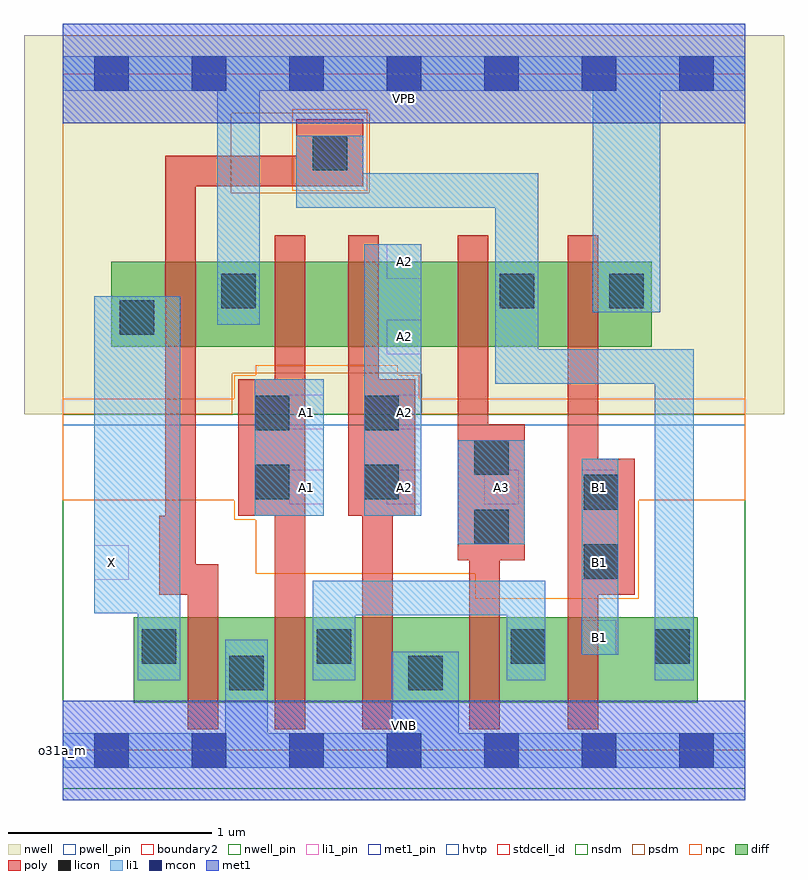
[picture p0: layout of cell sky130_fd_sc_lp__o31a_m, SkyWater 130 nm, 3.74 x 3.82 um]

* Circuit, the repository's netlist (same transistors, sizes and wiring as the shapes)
* Copyright 2020 The SkyWater PDK Authors
*
* Licensed under the Apache License, Version 2.0 (the "License");
* you may not use this file except in compliance with the License.
* You may obtain a copy of the License at
*
*     https://www.apache.org/licenses/LICENSE-2.0
*
* Unless required by applicable law or agreed to in writing, software
* distributed under the License is distributed on an "AS IS" BASIS,
* WITHOUT WARRANTIES OR CONDITIONS OF ANY KIND, either express or implied.
* See the License for the specific language governing permissions and
* limitations under the License.
*
* SPDX-License-Identifier: Apache-2.0

.SUBCKT sky130_fd_sc_lp__o31a_m A1 A2 A3 B1 VGND VNB VPB VPWR X
*.PININFO A1:I A2:I A3:I B1:I VGND:I VNB:I VPB:I VPWR:I X:O
MMPA0 VPWR A1 sndA1 VPB sky130_fd_pr__pfet_01v8_hvt m=1 w=0.42U l=0.15U mult=1
+ sa=0.265 sb=0.265 sd=0.28 area=0.063 perim=1.14
MMPA1 sndA1 A2 sndA2 VPB sky130_fd_pr__pfet_01v8_hvt m=1 w=0.42U l=0.15U mult=1
+ sa=0.265 sb=0.265 sd=0.28 area=0.063 perim=1.14
MMPA2 sndA2 A3 y VPB sky130_fd_pr__pfet_01v8_hvt m=1 w=0.42U l=0.15U mult=1 sa=0.265
+ sb=0.265 sd=0.28 area=0.063 perim=1.14
MMPB0 VPWR B1 y VPB sky130_fd_pr__pfet_01v8_hvt m=1 w=0.42U l=0.15U mult=1 sa=0.265
+ sb=0.265 sd=0.28 area=0.063 perim=1.14
MMIPX X y VPWR VPB sky130_fd_pr__pfet_01v8_hvt m=1 w=0.42U l=0.15U mult=1 sa=0.265
+ sb=0.265 sd=0.28 area=0.063 perim=1.14
MMNA0 pndA A1 VGND VNB sky130_fd_pr__nfet_01v8 m=1 w=0.42U l=0.15U mult=1 sa=0.265
+ sb=0.265 sd=0.28 area=0.063 perim=1.14
MMNA1 pndA A2 VGND VNB sky130_fd_pr__nfet_01v8 m=1 w=0.42U l=0.15U mult=1 sa=0.265
+ sb=0.265 sd=0.28 area=0.063 perim=1.14
MMNA2 pndA A3 VGND VNB sky130_fd_pr__nfet_01v8 m=1 w=0.42U l=0.15U mult=1 sa=0.265
+ sb=0.265 sd=0.28 area=0.063 perim=1.14
MMNB0 y B1 pndA VNB sky130_fd_pr__nfet_01v8 m=1 w=0.42U l=0.15U mult=1 sa=0.265
+ sb=0.265 sd=0.28 area=0.063 perim=1.14
MMINX X y VGND VNB sky130_fd_pr__nfet_01v8 m=1 w=0.42U l=0.15U mult=1 sa=0.265
+ sb=0.265 sd=0.28 area=0.063 perim=1.14
.ENDS sky130_fd_sc_lp__o31a_m

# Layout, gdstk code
import gdstk
lib = gdstk.Library(unit=1e-6, precision=1e-09)
def R(c, l, rs):  # rectangles x0, y0, x1, y1
    for r in rs: c.add(gdstk.rectangle(r[:2], r[2:], *l))
def A(c, l, x, y, w, h, nx, ny, dx, dy):  # array of equal rectangles
    R(c, l, [(x+i*dx, y+j*dy, x+i*dx+w, y+j*dy+h) for i in range(nx) for j in range(ny)])
def P(c, l, *ps):  # polygons
    for p in ps: c.add(gdstk.Polygon(p, *l))
nwell_pin = (64, 16)
nwell = (64, 20)
diff = (65, 20)
poly = (66, 20)
licon = (66, 44)
li1_pin = (67, 16)
li1 = (67, 20)
mcon = (67, 44)
met1_pin = (68, 16)
met1 = (68, 20)
hvtp = (78, 44)
stdcell_id = (81, 4)
nsdm = (93, 44)
psdm = (94, 20)
npc = (95, 20)
pwell_pin = (122, 16)
boundary2 = (236, 0)

sky130_fd_sc_lp__o31a_m = lib.new_cell('sky130_fd_sc_lp__o31a_m')
R(sky130_fd_sc_lp__o31a_m, nwell_pin, [(0,3.085,3.36,3.33)])
R(sky130_fd_sc_lp__o31a_m, nwell, [(-0.19,1.655,3.55,3.52)])
R(sky130_fd_sc_lp__o31a_m, diff, [(0.35,0.235,3.125,0.655), (0.24,1.985,2.9,2.405)])
P(sky130_fd_sc_lp__o31a_m, poly, [(1.195,2.535),(1.045,2.535),(1.045,1.825),(0.865,1.825),(0.865,1.155),(1.045,1.155),(1.045,0.105),(1.195,0.105)],
  [(1.48,3.105),(1.15,3.105),(1.15,2.925),(0.505,2.925),(0.505,1.155),(0.475,1.155),(0.475,0.765),(0.615,0.765),(0.615,0.105),(0.765,0.105),(0.765,0.915),(0.655,0.915),(0.655,2.775),(1.48,2.775)],
  [(1.735,1.825),(1.555,1.825),(1.555,2.535),(1.405,2.535),(1.405,1.155),(1.475,1.155),(1.475,0.105),(1.625,0.105),(1.625,1.155),(1.735,1.155)],
  [(2.275,1.605),(2.095,1.605),(2.095,2.535),(1.945,2.535),(1.945,0.935),(2,0.935),(2,0.105),(2.15,0.105),(2.15,0.935),(2.275,0.935)],
  [(2.815,1.435),(2.635,1.435),(2.635,2.535),(2.485,2.535),(2.485,0.105),(2.635,0.105),(2.635,0.765),(2.815,0.765)])
R(sky130_fd_sc_lp__o31a_m, licon, [(0.82,0.295,0.99,0.465), (1.7,0.295,1.87,0.465), (0.39,0.425,0.56,0.595), (1.25,0.425,1.42,0.595), (2.205,0.425,2.375,0.595), (2.915,0.425,3.085,0.595), (2.565,0.845,2.735,1.015), (2.025,1.015,2.195,1.185), (2.565,1.185,2.735,1.355), (0.945,1.235,1.115,1.405), (1.485,1.235,1.655,1.405), (2.025,1.355,2.195,1.525), (0.945,1.575,1.115,1.745), (1.485,1.575,1.655,1.745), (0.28,2.045,0.45,2.215), (0.78,2.175,0.95,2.345), (2.15,2.175,2.32,2.345), (2.69,2.175,2.86,2.345), (1.23,2.855,1.4,3.025)])
A(sky130_fd_sc_lp__o31a_m, li1_pin, 1.115, 1.21, 0.17, 0.17, 4, 1, 0.48, 0)
A(sky130_fd_sc_lp__o31a_m, li1_pin, 1.595, 1.58, 0.17, 0.17, 1, 3, 0, 0.37)
R(sky130_fd_sc_lp__o31a_m, li1_pin, [(2.555,0.47,2.725,0.64), (0.155,0.84,0.325,1.01), (2.555,0.84,2.725,1.01), (1.115,1.58,1.285,1.75)])
R(sky130_fd_sc_lp__o31a_m, li1, [(2.555,0.47,2.735,1.435), (1.945,1.015,2.275,1.525), (0.945,1.155,1.285,1.825), (1.485,1.155,1.765,2.49)])
P(sky130_fd_sc_lp__o31a_m, li1, [(0.76,2.095),(0.76,3.245),(0,3.245),(0,3.415),(3.36,3.415),(3.36,3.245),(2.94,3.245),(2.94,2.155),(2.61,2.155),(2.61,3.245),(0.97,3.245),(0.97,2.095)],
  [(1.62,0.085),(1.62,0.485),(1.95,0.485),(1.95,0.085),(3.36,0.085),(3.36,-0.085),(0,-0.085),(0,0.085),(0.8,0.085),(0.8,0.545),(1.01,0.545),(1.01,0.085)],
  [(2.34,1.975),(3.105,1.975),(3.105,0.345),(2.915,0.345),(2.915,1.805),(2.13,1.805),(2.13,2.67),(1.15,2.67),(1.15,3.025),(1.48,3.025),(1.48,2.84),(2.34,2.84)],
  [(0.155,0.675),(0.155,2.235),(0.58,2.235),(0.58,0.345),(0.37,0.345),(0.37,0.675)],
  [(2.185,0.345),(2.185,0.665),(1.44,0.665),(1.44,0.345),(1.23,0.345),(1.23,0.835),(2.375,0.835),(2.375,0.345)])
A(sky130_fd_sc_lp__o31a_m, mcon, 0.155, -0.085, 0.17, 0.17, 7, 2, 0.48, 3.33)
R(sky130_fd_sc_lp__o31a_m, met1_pin, [(0,0,3.36,0.245), (0,3.085,3.36,3.33)])
R(sky130_fd_sc_lp__o31a_m, met1, [(0,-0.245,3.36,0.245), (0,3.085,3.36,3.575)])
R(sky130_fd_sc_lp__o31a_m, hvtp, [(0,1.6,3.36,3.33)])
R(sky130_fd_sc_lp__o31a_m, stdcell_id, [(0,0,3.36,3.33)])
R(sky130_fd_sc_lp__o31a_m, nsdm, [(0,-0.19,3.36,1.655)])
P(sky130_fd_sc_lp__o31a_m, psdm, [(3.36,3.52),(1.51,3.52),(1.51,2.745),(0.83,2.745),(0.83,3.135),(1.51,3.135),(1.51,3.52),(0,3.52),(0,1.655),(0.835,1.655),(0.835,1.855),(1.765,1.855),(1.765,1.655),(3.36,1.655)])
R(sky130_fd_sc_lp__o31a_m, npc, [(1.13,2.755,1.5,3.155)])
P(sky130_fd_sc_lp__o31a_m, npc, [(3.36,1.73),(1.755,1.73),(1.755,1.845),(1.65,1.845),(1.65,1.895),(0.95,1.895),(0.95,1.845),(0.845,1.845),(0.845,1.73),(0,1.73),(0,1.23),(0.845,1.23),(0.845,1.135),(0.95,1.135),(0.95,0.87),(2.03,0.87),(2.03,0.745),(2.835,0.745),(2.835,1.23),(3.36,1.23)])
R(sky130_fd_sc_lp__o31a_m, pwell_pin, [(0,0,3.36,0.245)])
R(sky130_fd_sc_lp__o31a_m, boundary2, [(0,0,3.36,3.33)])
sky130_fd_sc_lp__o31a_m.add(gdstk.Label('VNB', (1.68,0.123), layer=64, texttype=59))
sky130_fd_sc_lp__o31a_m.add(gdstk.Label('VPB', (1.68,3.208), layer=64, texttype=5))
sky130_fd_sc_lp__o31a_m.add(gdstk.Label('o31a_m', (0,0), layer=83, texttype=44))
sky130_fd_sc_lp__o31a_m.add(gdstk.Label('VPWR', (1.68,3.208), layer=68, texttype=5))
sky130_fd_sc_lp__o31a_m.add(gdstk.Label('VGND', (1.68,0.123), layer=68, texttype=5))
sky130_fd_sc_lp__o31a_m.add(gdstk.Label('A1', (1.2,1.295), layer=67, texttype=5))
sky130_fd_sc_lp__o31a_m.add(gdstk.Label('A1', (1.2,1.665), layer=67, texttype=5))
sky130_fd_sc_lp__o31a_m.add(gdstk.Label('A2', (1.68,1.295), layer=67, texttype=5))
sky130_fd_sc_lp__o31a_m.add(gdstk.Label('A2', (1.68,1.665), layer=67, texttype=5))
sky130_fd_sc_lp__o31a_m.add(gdstk.Label('A2', (1.68,2.035), layer=67, texttype=5))
sky130_fd_sc_lp__o31a_m.add(gdstk.Label('A2', (1.68,2.405), layer=67, texttype=5))
sky130_fd_sc_lp__o31a_m.add(gdstk.Label('A3', (2.16,1.295), layer=67, texttype=5))
sky130_fd_sc_lp__o31a_m.add(gdstk.Label('B1', (2.64,0.555), layer=67, texttype=5))
sky130_fd_sc_lp__o31a_m.add(gdstk.Label('B1', (2.64,0.925), layer=67, texttype=5))
sky130_fd_sc_lp__o31a_m.add(gdstk.Label('B1', (2.64,1.295), layer=67, texttype=5))
sky130_fd_sc_lp__o31a_m.add(gdstk.Label('X', (0.24,0.925), layer=67, texttype=5))

lib.write_gds('sky130_fd_sc_lp__o31a_m.gds')
